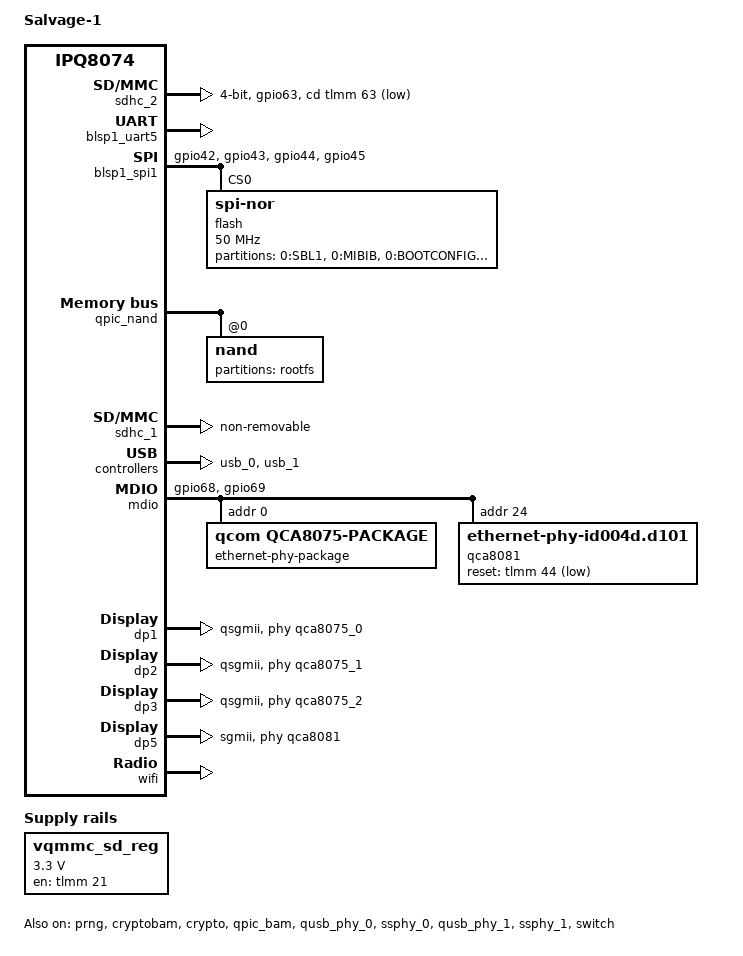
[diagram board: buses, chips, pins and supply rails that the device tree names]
// SPDX-License-Identifier: GPL-2.0-or-later OR MIT
/* Copyright (c) 2025-2026, cuicanmx <arl96075@163.com> */

/dts-v1/;

#include "ipq8074.dtsi"
#include "ipq8074-hk-cpu.dtsi"
#include "ipq8074-ess.dtsi"
#include "ipq8074-nss.dtsi"
#include <dt-bindings/gpio/gpio.h>

/ {
	model = "Salvage-1";
	compatible = "cuicanmx,salvage-1", "qcom,ipq8074";

	aliases {
		serial0 = &blsp1_uart5;
		ethernet0 = &dp5;
		ethernet1 = &dp3;
		ethernet2 = &dp2;
		ethernet3 = &dp1;
	};

	chosen {
		stdout-path = "serial0:115200n8";
		bootargs-append = " root=/dev/ubiblock0_1";
	};

	/* SD 卡 3.3V 电源，由 GPIO21 使能 */
	vqmmc_sd_reg: regulator-vqmmc-sd {
		compatible = "regulator-fixed";
		regulator-name = "vqmmc_sd";
		regulator-min-microvolt = <3300000>;
		regulator-max-microvolt = <3300000>;
		regulator-always-on;
		gpios = <&tlmm 21 GPIO_ACTIVE_HIGH>;
		enable-active-high;
	};
};

/* 主线缺失的 SD 卡控制器 */
&soc {
	sdhc_2: mmc@7864900 {
		compatible = "qcom,ipq8074-sdhci", "qcom,sdhci-msm-v4";
		reg = <0x7864900 0x500>, <0x7864000 0x800>;
		reg-names = "hc", "core";
		interrupts = <GIC_SPI 125 IRQ_TYPE_LEVEL_HIGH>,
			     <GIC_SPI 221 IRQ_TYPE_LEVEL_HIGH>;
		interrupt-names = "hc_irq", "pwr_irq";
		clocks = <&gcc GCC_SDCC2_AHB_CLK>,
			 <&gcc GCC_SDCC2_APPS_CLK>,
			 <&xo>;
		clock-names = "iface", "core", "xo";
		resets = <&gcc GCC_SDCC2_BCR>;
		max-frequency = <192000000>;
		mmc-ddr-1_8v;
		bus-width = <4>;
		status = "okay";
	};
};

&tlmm {
	mdio_pins: mdio-pins {
		mdc {
			pins = "gpio68";
			function = "mdc";
			drive-strength = <8>;
			bias-pull-up;
		};
		mdio {
			pins = "gpio69";
			function = "mdio";
			drive-strength = <8>;
			bias-pull-up;
		};
	};

	spi1_pins: spi1-pins {
		mux {
			pins = "gpio42", "gpio43", "gpio44", "gpio45";
			function = "blsp1_spi";
			drive-strength = <8>;
			bias-disable;
		};
	};

	sd_pins: sd-pins {
		mux {
			pins = "gpio63";
			function = "sd_card";
			drive-strength = <8>;
			bias-pull-up;
		};
	};
};

&blsp1_uart5 { status = "okay"; };
&prng { status = "okay"; };
&cryptobam { status = "okay"; };
&crypto { status = "okay"; };
&qpic_bam { status = "okay"; };

/* SPI NOR Flash */
&blsp1_spi1 {
	status = "okay";
	pinctrl-0 = <&spi1_pins>;
	pinctrl-names = "default";

	flash@0 {
		reg = <0>;
		compatible = "jedec,spi-nor";
		spi-max-frequency = <50000000>;

		partitions {
			compatible = "fixed-partitions";
			#address-cells = <1>;
			#size-cells = <1>;

			partition@0 { label = "0:SBL1"; reg = <0x0 0x50000>; read-only; };
			partition@50000 { label = "0:MIBIB"; reg = <0x50000 0x10000>; read-only; };
			partition@60000 { label = "0:BOOTCONFIG"; reg = <0x60000 0x20000>; read-only; };
			partition@80000 { label = "0:BOOTCONFIG1"; reg = <0x80000 0x20000>; read-only; };
			partition@a0000 { label = "0:QSEE"; reg = <0xa0000 0x180000>; read-only; };
			partition@220000 { label = "0:QSEE_1"; reg = <0x220000 0x180000>; read-only; };
			partition@3a0000 { label = "0:DEVCFG"; reg = <0x3a0000 0x10000>; read-only; };
			partition@3b0000 { label = "0:DEVCFG_1"; reg = <0x3b0000 0x10000>; read-only; };
			partition@3c0000 { label = "0:APDP"; reg = <0x3c0000 0x10000>; read-only; };
			partition@3d0000 { label = "0:APDP_1"; reg = <0x3d0000 0x10000>; read-only; };
			partition@3e0000 { label = "0:RPM"; reg = <0x3e0000 0x40000>; read-only; };
			partition@420000 { label = "0:RPM_1"; reg = <0x420000 0x40000>; read-only; };
			partition@460000 { label = "0:CDT"; reg = <0x460000 0x10000>; read-only; };
			partition@470000 { label = "0:CDT_1"; reg = <0x470000 0x10000>; read-only; };
			partition@480000 { label = "0:APPSBLENV"; reg = <0x480000 0x10000>; };
			partition@490000 { label = "0:APPSBL"; reg = <0x490000 0xa0000>; read-only; };
			partition@530000 { label = "0:APPSBL_1"; reg = <0x530000 0xa0000>; read-only; };
			partition@5d0000 { label = "0:ART"; reg = <0x5d0000 0x40000>; read-only; };
			partition@610000 { label = "0:ETHPHYFW"; reg = <0x610000 0x80000>; read-only; };
		};
	};
};

/* NAND Flash */
&qpic_nand {
	status = "okay";

	nand@0 {
		reg = <0>;
		nand-ecc-strength = <8>;
		nand-ecc-step-size = <512>;
		nand-bus-width = <8>;

		partitions {
			compatible = "fixed-partitions";
			#address-cells = <1>;
			#size-cells = <1>;

			partition@0 {
				label = "rootfs";
				reg = <0x0 0x10000000>;
			};
		};
	};
};

/* eMMC HS400 */
&sdhc_1 {
	status = "okay";
	non-removable;
	mmc-ddr-1_8v;
	mmc-hs200-1_8v;
	mmc-hs400-1_8v;
	max-frequency = <192000000>;
};

/* SD 卡槽 */
&sdhc_2 {
	pinctrl-0 = <&sd_pins>;
	pinctrl-names = "default";
	cd-gpios = <&tlmm 63 GPIO_ACTIVE_LOW>;
	vqmmc-supply = <&vqmmc_sd_reg>;
};

/* USB */
&qusb_phy_0 { status = "okay"; };
&ssphy_0 { status = "okay"; };
&usb_0 { status = "okay"; };

&qusb_phy_1 { status = "okay"; };
&ssphy_1 { status = "okay"; };
&usb_1 { status = "okay"; };

/* MDIO 和 PHY */
&mdio {
	status = "okay";
	pinctrl-0 = <&mdio_pins>;
	pinctrl-names = "default";

	ethernet-phy-package@0 {
		#address-cells = <1>;
		#size-cells = <0>;
		compatible = "qcom,qca8075-package";
		reg = <0>;
		qcom,package-mode = "qsgmii";

		qca8075_0: ethernet-phy@0 {
			compatible = "ethernet-phy-ieee802.3-c22";
			reg = <0>;
		};
		qca8075_1: ethernet-phy@1 {
			compatible = "ethernet-phy-ieee802.3-c22";
			reg = <1>;
		};
		qca8075_2: ethernet-phy@2 {
			compatible = "ethernet-phy-ieee802.3-c22";
			reg = <2>;
		};
	};

	qca8081: ethernet-phy@24 {
		compatible = "ethernet-phy-id004d.d101";
		reg = <24>;
		reset-deassert-us = <10000>;
		reset-gpios = <&tlmm 44 GPIO_ACTIVE_LOW>;
	};
};

/* 交换机 */
&switch {
	status = "okay";

	switch_lan_bmp = <(ESS_PORT1 | ESS_PORT2 | ESS_PORT3)>;
	switch_wan_bmp = <ESS_PORT5>;
	switch_mac_mode = <MAC_MODE_QSGMII>;
	switch_mac_mode1 = <MAC_MODE_SGMII_PLUS>;

	qcom,port_phyinfo {
		port@1 { port_id = <1>; phy_address = <0>; };
		port@2 { port_id = <2>; phy_address = <1>; };
		port@3 { port_id = <3>; phy_address = <2>; };
		port@5 { port_id = <5>; phy_address = <24>; port_mac_sel = "QGMAC_PORT"; };
	};
};

&edma { status = "okay"; };

/* 网络接口 */
&dp1 {
	status = "okay";
	phy-mode = "qsgmii";
	phy-handle = <&qca8075_0>;
	label = "lan3";
};

&dp2 {
	status = "okay";
	phy-mode = "qsgmii";
	phy-handle = <&qca8075_1>;
	label = "lan2";
};

&dp3 {
	status = "okay";
	phy-mode = "qsgmii";
	phy-handle = <&qca8075_2>;
	label = "lan1";
};

&dp5 {
	status = "okay";
	phy-mode = "sgmii";
	phy-handle = <&qca8081>;
	label = "wan";
};

/* Wi‑Fi */
&wifi {
	status = "okay";
	qcom,ath11k-calibration-variant = "Salvage-1";
};

/* PCIe 全部禁用 */
&pcie_qmp0 { status = "disabled"; };
&pcie_qmp1 { status = "disabled"; };
&pcie0 { status = "disabled"; };
&pcie1 { status = "disabled"; };
